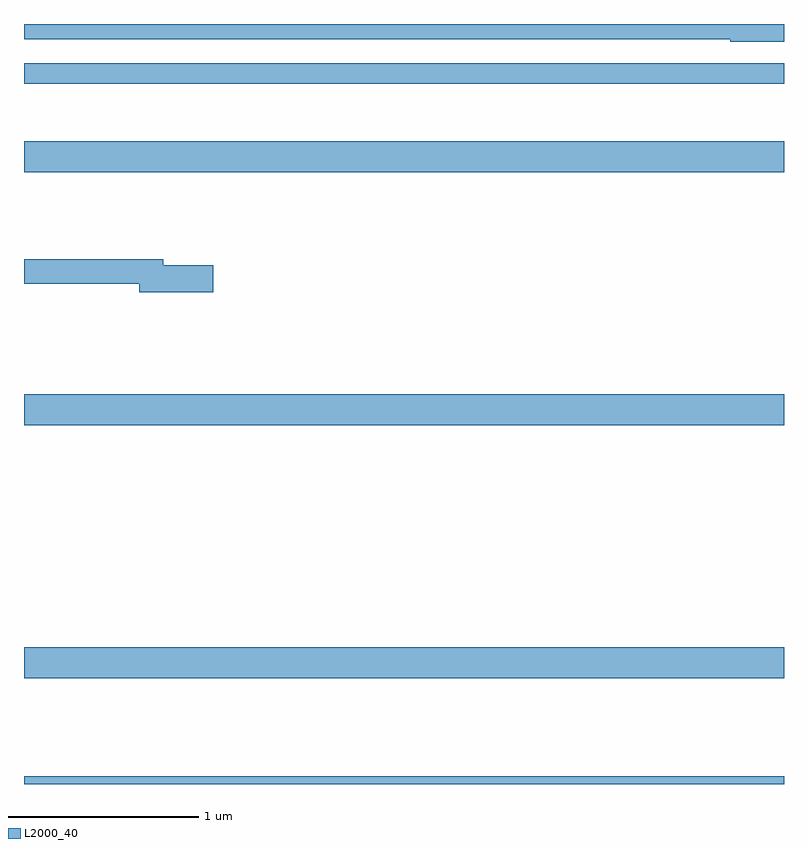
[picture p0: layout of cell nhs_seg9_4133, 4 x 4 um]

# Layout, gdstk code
import gdstk
lib = gdstk.Library(unit=1e-6, precision=1e-09)
def R(c, l, rs):  # rectangles x0, y0, x1, y1
    for r in rs: c.add(gdstk.rectangle(r[:2], r[2:], *l))
def A(c, l, x, y, w, h, nx, ny, dx, dy):  # array of equal rectangles
    R(c, l, [(x+i*dx, y+j*dy, x+i*dx+w, y+j*dy+h) for i in range(nx) for j in range(ny)])
def P(c, l, *ps):  # polygons
    for p in ps: c.add(gdstk.Polygon(p, *l))
L2000_40 = (2000, 40)

nhs_seg9_4133 = lib.new_cell('nhs_seg9_4133')
A(nhs_seg9_4133, L2000_40, 347, 1227.056, 4, 0.164, 1, 3, 0, 1.332)
R(nhs_seg9_4133, L2000_40, [(347,1226.5,351,1226.54), (347,1230.186,351,1230.294)])
P(nhs_seg9_4133, L2000_40, [(351,1230.5),(347,1230.5),(347,1230.42),(350.718,1230.42),(350.718,1230.407),(351,1230.407)],
  [(347.995,1229.229),(347.734,1229.229),(347.734,1229.263),(347,1229.263),(347,1229.134),(347.606,1229.134),(347.606,1229.087),(347.995,1229.087)])

lib.write_gds('nhs_seg9_4133.gds')
